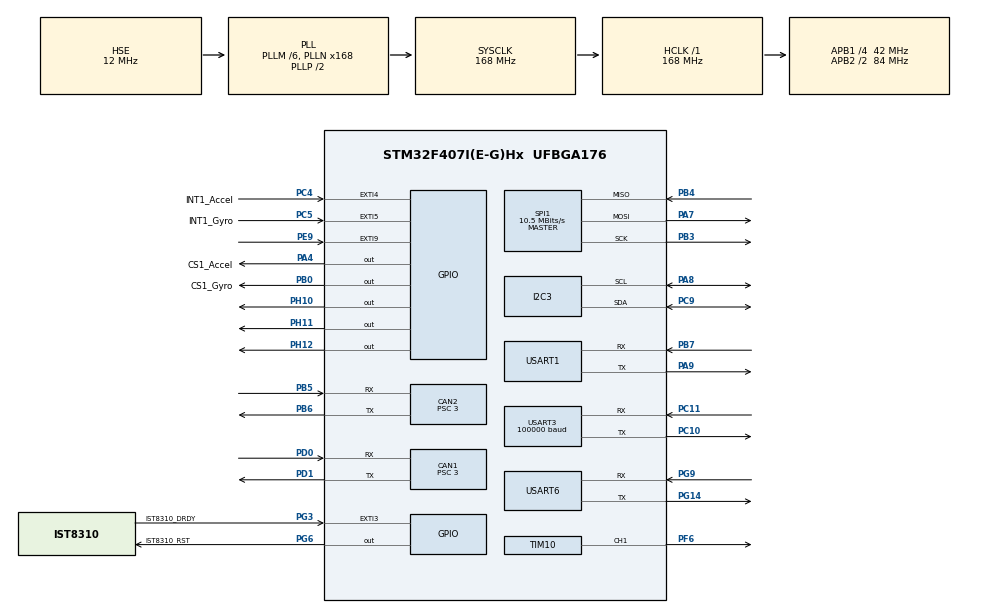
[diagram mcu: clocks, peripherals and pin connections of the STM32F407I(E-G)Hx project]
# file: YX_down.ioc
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CAN1.BS1=CAN_BS1_10TQ
CAN1.BS2=CAN_BS2_3TQ
CAN1.CalculateBaudRate=1000000
CAN1.CalculateTimeBit=1000
CAN1.CalculateTimeQuantum=71.42857142857143
CAN1.Prescaler=3
CAN2.BS1=CAN_BS1_10TQ
CAN2.BS2=CAN_BS2_3TQ
CAN2.CalculateBaudRate=1000000
CAN2.CalculateTimeBit=1000
CAN2.CalculateTimeQuantum=71.42857142857143
CAN2.Prescaler=3
Dma.Request0=USART1_RX
Dma.Request1=USART1_TX
Dma.Request2=USART6_RX
Dma.Request3=USART6_TX
Dma.Request4=USART3_RX
Dma.Request5=USART3_TX
Dma.Request6=SPI1_RX
Dma.Request7=SPI1_TX
Dma.SPI1_RX.6.Direction=DMA_PERIPH_TO_MEMORY
Dma.SPI1_RX.6.FIFOMode=DMA_FIFOMODE_DISABLE
Dma.SPI1_RX.6.Instance=DMA2_Stream0
Dma.SPI1_RX.6.MemDataAlignment=DMA_MDATAALIGN_BYTE
Dma.SPI1_RX.6.MemInc=DMA_MINC_ENABLE
Dma.SPI1_RX.6.Mode=DMA_NORMAL
Dma.SPI1_RX.6.PeriphDataAlignment=DMA_PDATAALIGN_BYTE
Dma.SPI1_RX.6.PeriphInc=DMA_PINC_DISABLE
Dma.SPI1_RX.6.Priority=DMA_PRIORITY_LOW
Dma.SPI1_TX.7.Direction=DMA_MEMORY_TO_PERIPH
Dma.SPI1_TX.7.FIFOMode=DMA_FIFOMODE_DISABLE
Dma.SPI1_TX.7.Instance=DMA2_Stream3
Dma.SPI1_TX.7.MemDataAlignment=DMA_MDATAALIGN_BYTE
Dma.SPI1_TX.7.MemInc=DMA_MINC_ENABLE
Dma.SPI1_TX.7.Mode=DMA_NORMAL
Dma.SPI1_TX.7.PeriphDataAlignment=DMA_PDATAALIGN_BYTE
Dma.SPI1_TX.7.PeriphInc=DMA_PINC_DISABLE
Dma.SPI1_TX.7.Priority=DMA_PRIORITY_LOW
Dma.USART1_RX.0.Direction=DMA_PERIPH_TO_MEMORY
Dma.USART1_RX.0.FIFOMode=DMA_FIFOMODE_DISABLE
Dma.USART1_RX.0.Instance=DMA2_Stream2
Dma.USART1_RX.0.MemDataAlignment=DMA_MDATAALIGN_BYTE
Dma.USART1_RX.0.MemInc=DMA_MINC_ENABLE
Dma.USART1_RX.0.Mode=DMA_CIRCULAR
Dma.USART1_RX.0.PeriphDataAlignment=DMA_PDATAALIGN_BYTE
Dma.USART1_RX.0.PeriphInc=DMA_PINC_DISABLE
Dma.USART1_RX.0.Priority=DMA_PRIORITY_VERY_HIGH
Dma.USART1_TX.1.Direction=DMA_MEMORY_TO_PERIPH
Dma.USART1_TX.1.FIFOMode=DMA_FIFOMODE_DISABLE
Dma.USART1_TX.1.Instance=DMA2_Stream7
Dma.USART1_TX.1.MemDataAlignment=DMA_MDATAALIGN_BYTE
Dma.USART1_TX.1.MemInc=DMA_MINC_ENABLE
Dma.USART1_TX.1.Mode=DMA_CIRCULAR
Dma.USART1_TX.1.PeriphDataAlignment=DMA_PDATAALIGN_BYTE
Dma.USART1_TX.1.PeriphInc=DMA_PINC_DISABLE
Dma.USART1_TX.1.Priority=DMA_PRIORITY_VERY_HIGH
Dma.USART3_RX.4.Direction=DMA_PERIPH_TO_MEMORY
Dma.USART3_RX.4.FIFOMode=DMA_FIFOMODE_DISABLE
Dma.USART3_RX.4.Instance=DMA1_Stream1
Dma.USART3_RX.4.MemDataAlignment=DMA_MDATAALIGN_BYTE
Dma.USART3_RX.4.MemInc=DMA_MINC_ENABLE
Dma.USART3_RX.4.Mode=DMA_CIRCULAR
Dma.USART3_RX.4.PeriphDataAlignment=DMA_PDATAALIGN_BYTE
Dma.USART3_RX.4.PeriphInc=DMA_PINC_DISABLE
Dma.USART3_RX.4.Priority=DMA_PRIORITY_VERY_HIGH
Dma.USART3_TX.5.Direction=DMA_MEMORY_TO_PERIPH
Dma.USART3_TX.5.FIFOMode=DMA_FIFOMODE_DISABLE
Dma.USART3_TX.5.Instance=DMA1_Stream3
Dma.USART3_TX.5.MemDataAlignment=DMA_MDATAALIGN_BYTE
Dma.USART3_TX.5.MemInc=DMA_MINC_ENABLE
Dma.USART3_TX.5.Mode=DMA_NORMAL
Dma.USART3_TX.5.PeriphDataAlignment=DMA_PDATAALIGN_BYTE
Dma.USART3_TX.5.PeriphInc=DMA_PINC_DISABLE
Dma.USART3_TX.5.Priority=DMA_PRIORITY_VERY_HIGH
Dma.USART6_RX.2.Direction=DMA_PERIPH_TO_MEMORY
Dma.USART6_RX.2.FIFOMode=DMA_FIFOMODE_DISABLE
Dma.USART6_RX.2.Instance=DMA2_Stream1
Dma.USART6_RX.2.MemDataAlignment=DMA_MDATAALIGN_BYTE
Dma.USART6_RX.2.MemInc=DMA_MINC_ENABLE
Dma.USART6_RX.2.Mode=DMA_NORMAL
Dma.USART6_RX.2.PeriphDataAlignment=DMA_PDATAALIGN_BYTE
Dma.USART6_RX.2.PeriphInc=DMA_PINC_DISABLE
Dma.USART6_RX.2.Priority=DMA_PRIORITY_VERY_HIGH
Dma.USART6_TX.3.Direction=DMA_MEMORY_TO_PERIPH
Dma.USART6_TX.3.FIFOMode=DMA_FIFOMODE_DISABLE
Dma.USART6_TX.3.Instance=DMA2_Stream6
Dma.USART6_TX.3.MemDataAlignment=DMA_MDATAALIGN_BYTE
Dma.USART6_TX.3.MemInc=DMA_MINC_ENABLE
Dma.USART6_TX.3.Mode=DMA_NORMAL
Dma.USART6_TX.3.PeriphDataAlignment=DMA_PDATAALIGN_BYTE
Dma.USART6_TX.3.PeriphInc=DMA_PINC_DISABLE
Dma.USART6_TX.3.Priority=DMA_PRIORITY_MEDIUM
FREERTOS.INCLUDE_uxTaskGetStackHighWaterMark=1
FREERTOS.Tasks01=defaultTask,0,128,StartDefaultTask,Default,NULL,Dynamic,NULL,NULL
I2C3.I2C_Mode=I2C_Fast
Mcu.Family=STM32F4
Mcu.Name=STM32F407I(E-G)Hx
Mcu.Package=UFBGA176
NVIC.CAN1_RX0_IRQn=true\:5\:0\:false\:false\:true\:true\:true\:true\:true
NVIC.CAN1_TX_IRQn=true\:5\:0\:false\:false\:true\:true\:true\:true\:true
NVIC.CAN2_RX0_IRQn=true\:5\:0\:false\:false\:true\:true\:true\:true\:true
NVIC.CAN2_TX_IRQn=true\:5\:0\:false\:false\:true\:true\:true\:true\:true
NVIC.DMA1_Stream1_IRQn=true\:5\:0\:false\:false\:true\:true\:false\:true\:true
NVIC.DMA1_Stream3_IRQn=true\:5\:0\:false\:false\:true\:true\:false\:true\:true
NVIC.DMA2_Stream0_IRQn=true\:5\:0\:false\:false\:true\:true\:false\:true\:true
NVIC.DMA2_Stream1_IRQn=true\:5\:0\:false\:false\:true\:true\:false\:true\:true
NVIC.DMA2_Stream2_IRQn=true\:5\:0\:false\:false\:true\:true\:false\:true\:true
NVIC.DMA2_Stream3_IRQn=true\:5\:0\:false\:false\:true\:true\:false\:true\:true
NVIC.DMA2_Stream6_IRQn=true\:5\:0\:false\:false\:true\:true\:false\:true\:true
NVIC.DMA2_Stream7_IRQn=true\:5\:0\:false\:false\:true\:true\:false\:true\:true
NVIC.EXTI3_IRQn=true\:5\:0\:false\:false\:true\:true\:true\:true\:true
NVIC.EXTI4_IRQn=true\:5\:0\:false\:false\:true\:true\:true\:true\:true
NVIC.EXTI9_5_IRQn=true\:5\:0\:false\:false\:true\:true\:true\:true\:true
NVIC.PriorityGroup=NVIC_PRIORITYGROUP_4
NVIC.SPI1_IRQn=true\:5\:0\:false\:false\:true\:true\:true\:true\:true
NVIC.TIM1_BRK_TIM9_IRQn=true\:5\:0\:false\:false\:true\:true\:true\:true\:true
NVIC.TIM2_IRQn=true\:5\:0\:false\:false\:true\:true\:true\:true\:true
NVIC.TIM3_IRQn=true\:15\:0\:false\:false\:true\:false\:false\:true\:true
NVIC.TIM4_IRQn=true\:5\:0\:false\:false\:true\:true\:true\:true\:true
NVIC.TIM8_BRK_TIM12_IRQn=true\:5\:0\:false\:false\:true\:true\:true\:true\:true
NVIC.TIM8_UP_TIM13_IRQn=true\:5\:0\:false\:false\:true\:true\:true\:true\:true
NVIC.TimeBase=TIM3_IRQn
NVIC.TimeBaseIP=TIM3
NVIC.USART1_IRQn=true\:5\:0\:false\:false\:true\:true\:true\:true\:true
NVIC.USART3_IRQn=true\:5\:0\:false\:false\:true\:true\:true\:true\:true
NVIC.USART6_IRQn=true\:5\:0\:false\:false\:true\:true\:true\:true\:true
PA13.Mode=Serial_Wire
PA13.Signal=SYS_JTMS-SWDIO
PA14.Mode=Serial_Wire
PA14.Signal=SYS_JTCK-SWCLK
PA4.GPIO_Label=CS1_Accel
PA4.GPIO_PuPd=GPIO_PULLUP
PA4.GPIO_Speed=GPIO_SPEED_FREQ_HIGH
PA4.PinState=GPIO_PIN_SET
PA4.Signal=GPIO_Output
PA7.Mode=Full_Duplex_Master
PA7.Signal=SPI1_MOSI
PA8.Mode=I2C
PA8.Signal=I2C3_SCL
PA9.Mode=Asynchronous
PA9.Signal=USART1_TX
PB0.GPIO_Label=CS1_Gyro
PB0.GPIO_PuPd=GPIO_PULLUP
PB0.GPIO_Speed=GPIO_SPEED_FREQ_HIGH
PB0.PinState=GPIO_PIN_SET
PB0.Signal=GPIO_Output
PB3.Mode=Full_Duplex_Master
PB3.Signal=SPI1_SCK
PB4.Mode=Full_Duplex_Master
PB4.Signal=SPI1_MISO
PB5.Mode=CAN_Activate
PB5.Signal=CAN2_RX
PB6.Mode=CAN_Activate
PB6.Signal=CAN2_TX
PB7.Mode=Asynchronous
PB7.Signal=USART1_RX
PC10.Mode=Asynchronous
PC10.Signal=USART3_TX
PC11.Mode=Asynchronous
PC11.Signal=USART3_RX
PC4.GPIO_Label=INT1_Accel
PC4.GPIO_PuPd=GPIO_PULLUP
PC4.Signal=GPXTI4
PC5.GPIO_Label=INT1_Gyro
PC5.GPIO_PuPd=GPIO_PULLUP
PC5.Signal=GPXTI5
PC9.Mode=I2C
PC9.Signal=I2C3_SDA
PD0.Mode=CAN_Activate
PD0.Signal=CAN1_RX
PD1.Mode=CAN_Activate
PD1.Signal=CAN1_TX
PE9.GPIO_PuPd=GPIO_PULLUP
PE9.Signal=GPXTI9
PF6.GPIO_PuPd=GPIO_PULLUP
PF6.GPIO_Speed=GPIO_SPEED_FREQ_HIGH
PF6.Signal=S_TIM10_CH1
PG14.GPIO_PuPd=GPIO_PULLUP
PG14.Mode=Asynchronous
PG14.Signal=USART6_TX
PG3.GPIO_Label=IST8310_DRDY
PG3.GPIO_PuPd=GPIO_PULLUP
PG3.Signal=GPXTI3
PG6.GPIO_Label=IST8310_RST
PG6.GPIO_PuPd=GPIO_PULLUP
PG6.GPIO_Speed=GPIO_SPEED_FREQ_MEDIUM
PG6.PinState=GPIO_PIN_SET
PG6.Signal=GPIO_Output
PG9.GPIO_PuPd=GPIO_PULLUP
PG9.Mode=Asynchronous
PG9.Signal=USART6_RX
PH0-OSC_IN.Mode=HSE-External-Oscillator
PH0-OSC_IN.Signal=RCC_OSC_IN
PH1-OSC_OUT.Mode=HSE-External-Oscillator
PH1-OSC_OUT.Signal=RCC_OSC_OUT
PH10.GPIO_PuPd=GPIO_PULLUP
PH10.Signal=GPIO_Output
PH11.GPIO_PuPd=GPIO_PULLUP
PH11.Signal=GPIO_Output
PH12.GPIO_PuPd=GPIO_PULLUP
PH12.Signal=GPIO_Output
ProjectManager.HeapSize=0x200
ProjectManager.StackSize=0x400
ProjectManager.TargetToolchain=MDK-ARM V5.32
RCC.48MHZClocksFreq_Value=84000000
RCC.AHBFreq_Value=168000000
RCC.APB1CLKDivider=RCC_HCLK_DIV4
RCC.APB1Freq_Value=42000000
RCC.APB1TimFreq_Value=84000000
RCC.APB2CLKDivider=RCC_HCLK_DIV2
RCC.APB2Freq_Value=84000000
RCC.APB2TimFreq_Value=168000000
RCC.CortexFreq_Value=168000000
RCC.HCLKFreq_Value=168000000
RCC.HSE_VALUE=12000000
RCC.HSI_VALUE=16000000
RCC.LSE_VALUE=32768
RCC.PLLM=6
RCC.PLLN=168
RCC.PLLSourceVirtual=RCC_PLLSOURCE_HSE
RCC.SYSCLKFreq_VALUE=168000000
RCC.SYSCLKSource=RCC_SYSCLKSOURCE_PLLCLK
RCC.VCOOutputFreq_Value=336000000
SH.S_TIM10_CH1.0=TIM10_CH1,PWM Generation1 CH1
SPI1.BaudRatePrescaler=SPI_BAUDRATEPRESCALER_8
SPI1.CLKPhase=SPI_PHASE_2EDGE
SPI1.CLKPolarity=SPI_POLARITY_HIGH
SPI1.CalculateBaudRate=10.5 MBits/s
SPI1.Direction=SPI_DIRECTION_2LINES
SPI1.Mode=SPI_MODE_MASTER
SPI1.VirtualType=VM_MASTER
TIM1.Period=100-1
TIM1.Prescaler=16800-1
TIM10.Channel=TIM_CHANNEL_1
TIM10.Period=5000-1
TIM2.Period=100-1
TIM2.Prescaler=8400
TIM4.Period=10000-1
TIM4.Prescaler=16800-1
TIM8.Period=100-1
TIM8.Prescaler=16800-1
TIM9.Period=100-1
TIM9.Prescaler=16800-1
USART1.VirtualMode=VM_ASYNC
USART3.BaudRate=100000
USART3.VirtualMode=VM_ASYNC
USART6.VirtualMode=VM_ASYNC
VP_FREERTOS_VS_CMSIS_V1.Mode=CMSIS_V1
VP_SYS_VS_tim3.Mode=TIM3
VP_TIM10_VS_ClockSourceINT.Mode=Enable_Timer
VP_TIM1_VS_ClockSourceINT.Mode=Internal
VP_TIM2_VS_ClockSourceINT.Mode=Internal
VP_TIM4_VS_ClockSourceINT.Mode=Internal
VP_TIM8_VS_ClockSourceINT.Mode=Internal
VP_TIM9_VS_ClockSourceINT.Mode=Internal
board=custom

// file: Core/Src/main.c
/* USER CODE BEGIN Header */
/**
  ******************************************************************************
  * @file           : main.c
  * @brief          : Main program body
  ******************************************************************************
  * @attention
  *
  * Copyright (c) 2023 STMicroelectronics.
  * All rights reserved.
  *
  * This software is licensed under terms that can be found in the LICENSE file
  * in the root directory of this software component.
  * If no LICENSE file comes with this software, it is provided AS-IS.
  *
  ******************************************************************************
  */
/* USER CODE END Header */
#include "main.h"
#include "cmsis_os.h"
#include "can.h"
#include "dma.h"
#include "i2c.h"
#include "spi.h"
#include "tim.h"
#include "usart.h"
#include "gpio.h"

/* USER CODE BEGIN Includes */
#include "INS_task.h"
#include "drv_can.h"
#include "drv_usart.h"
#include "string.h"
/* USER CODE END Includes */

void SystemClock_Config(void);
void MX_FREERTOS_Init(void);

/* USER CODE BEGIN 0 */
//全局变量
uint16_t can_cnt_2;
float target_speed[7]={0};//实测最大空载转速320rpm
float target_speed_can_2[7]={0};//实测最大空载转速320rpm
moto_info_t motor_info[MOTOR_MAX_NUM];		//赋予最大的7个字节
moto_info_t motor_info_can_2[MOTOR_MAX_NUM];		//赋予最大的7个字节

uint8_t can_flag=0;
double step=9158/660;
double r;
double target_v;
int16_t target_int1;
int16_t target_int2;//用于叠加旋转和直行
double target_curl;
float yuntai_step=60*(1024-364);

//拨盘
float time=100;//时间
float time_count;//时间计数值
uint8_t flag_shoot;//标志位
float round_shoot;//转动圈数
float down;
float up;

//Yaw轴
int16_t target_angle=4096;
int16_t err_angle;
int16_t max_yaw_speed;
float small;
float angle_limit =8191;//转角的最大值

uint8_t rx_data[8];

uint8_t Rx[128];
uint8_t data_length;
uint8_t begin = 0xA5;
uint8_t temp = 0x01;

DH Tx;

#pragma pack(1) //???????
typedef struct
{
	uint8_t begin_data;
	float tx;
	uint8_t end_data;
}DATA;
#pragma pack(push)

DATA data;
uint8_t trans[4];
uint16_t size;
/* USER CODE END 0 */

int main(void)
{

  /* MCU Configuration--------------------------------------------------------*/

  /* Reset of all peripherals, Initializes the Flash interface and the Systick. */
  HAL_Init();

  /* Configure the system clock */
  SystemClock_Config();

  /* Initialize all configured peripherals */
  MX_GPIO_Init();
  MX_DMA_Init();
  MX_TIM1_Init();
  MX_TIM2_Init();
  MX_TIM8_Init();
  MX_TIM9_Init();
  MX_CAN1_Init();
  MX_CAN2_Init();
  MX_USART1_UART_Init();
  MX_USART6_UART_Init();
  MX_USART3_UART_Init();
  MX_I2C3_Init();
  MX_SPI1_Init();
  MX_TIM10_Init();
  MX_TIM4_Init();
  /* USER CODE BEGIN 2 */
	HAL_TIM_Base_Start_IT(&htim4);
	HAL_TIM_PWM_Start(&htim10,TIM_CHANNEL_1);
	HAL_NVIC_SetPriority(TIM2_IRQn, 0, 0);//修改TIM2中断优先级
//	HAL_NVIC_SetPriority(SysTick_IRQn,1,1);//调高HAL_Delay的时钟中断优先级
	CAN1_Init();
  CAN2_Init();
  USART6_Init();
	USART3_Init();

	__HAL_UART_ENABLE_IT(&huart1,UART_IT_IDLE);
	HAL_UART_Receive_DMA(&huart1,(uint8_t *)Rx,128);
	data.begin_data = 0x5A;
	data.end_data = 0xAA;
	while(1){
		HAL_UART_Transmit_IT(&huart1,&data.begin_data,sizeof(data));
		data.tx++;
		HAL_Delay(0xff);
	}
  /* USER CODE END 2 */

  /* Call init function for freertos objects (in freertos.c) */
  MX_FREERTOS_Init();

  /* Start scheduler */
  osKernelStart();

  /* We should never get here as control is now taken by the scheduler */
  /* Infinite loop */
  while (1)
  {

  }
}

void SystemClock_Config(void)
{
  RCC_OscInitTypeDef RCC_OscInitStruct = {0};
  RCC_ClkInitTypeDef RCC_ClkInitStruct = {0};

  /** Configure the main internal regulator output voltage
  */
  __HAL_RCC_PWR_CLK_ENABLE();
  __HAL_PWR_VOLTAGESCALING_CONFIG(PWR_REGULATOR_VOLTAGE_SCALE1);

  /** Initializes the RCC Oscillators according to the specified parameters
  * in the RCC_OscInitTypeDef structure.
  */
  RCC_OscInitStruct.OscillatorType = RCC_OSCILLATORTYPE_HSE;
  RCC_OscInitStruct.HSEState = RCC_HSE_ON;
  RCC_OscInitStruct.PLL.PLLState = RCC_PLL_ON;
  RCC_OscInitStruct.PLL.PLLSource = RCC_PLLSOURCE_HSE;
  RCC_OscInitStruct.PLL.PLLM = 6;
  RCC_OscInitStruct.PLL.PLLN = 168;
  RCC_OscInitStruct.PLL.PLLP = RCC_PLLP_DIV2;
  RCC_OscInitStruct.PLL.PLLQ = 4;
  if (HAL_RCC_OscConfig(&RCC_OscInitStruct) != HAL_OK)
  {
    Error_Handler();
  }

  /** Initializes the CPU, AHB and APB buses clocks
  */
  RCC_ClkInitStruct.ClockType = RCC_CLOCKTYPE_HCLK|RCC_CLOCKTYPE_SYSCLK
                              |RCC_CLOCKTYPE_PCLK1|RCC_CLOCKTYPE_PCLK2;
  RCC_ClkInitStruct.SYSCLKSource = RCC_SYSCLKSOURCE_PLLCLK;
  RCC_ClkInitStruct.AHBCLKDivider = RCC_SYSCLK_DIV1;
  RCC_ClkInitStruct.APB1CLKDivider = RCC_HCLK_DIV4;
  RCC_ClkInitStruct.APB2CLKDivider = RCC_HCLK_DIV2;

  if (HAL_RCC_ClockConfig(&RCC_ClkInitStruct, FLASH_LATENCY_5) != HAL_OK)
  {
    Error_Handler();
  }
}

/* USER CODE BEGIN 4 */
void HAL_UART_RxCpltCallback(UART_HandleTypeDef *huart)
{
	if(huart->Instance == USART1)
	{
		HAL_UART_DMAStop(&huart1);
		data_length = 128 - __HAL_DMA_GET_COUNTER(huart1.hdmarx);
//		if(data_length<64)
//			return;
//		else if(Rx[0]!=begin)
//			return;
//		else if(Rx[1]!=temp)
//			return;
		if(Rx[0]==begin && Rx[1]==temp){
			memcpy(&Tx.nav_vx,&Rx[47],4);
			memcpy(&Tx.nav_vy,&Rx[51],4);
			memcpy(&Tx.nav_yaw,&Rx[55],4);
			HAL_UART_Transmit_DMA(&huart6,Rx,data_length);
			HAL_UART_Receive_DMA(&huart1,(uint8_t *)Rx,128);
		}
//		HAL_UART_Transmit_DMA(&huart6,Rx,data_length);
//		HAL_UART_Receive_DMA(&huart1,(uint8_t *)Rx,128);
	}
}
/* USER CODE END 4 */

void HAL_TIM_PeriodElapsedCallback(TIM_HandleTypeDef *htim)
{
  if (htim->Instance == TIM3) {
    HAL_IncTick();
  }
}

void Error_Handler(void)
{
  __disable_irq();
  while (1)
  {
  }
}

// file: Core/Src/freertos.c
/* USER CODE BEGIN Header */
/**
  ******************************************************************************
  * File Name          : freertos.c
  * Description        : Code for freertos applications
  ******************************************************************************
  * @attention
  *
  * Copyright (c) 2023 STMicroelectronics.
  * All rights reserved.
  *
  * This software is licensed under terms that can be found in the LICENSE file
  * in the root directory of this software component.
  * If no LICENSE file comes with this software, it is provided AS-IS.
  *
  ******************************************************************************
  */
/* USER CODE END Header */

#include "FreeRTOS.h"
#include "task.h"
#include "main.h"
#include "cmsis_os.h"

/* USER CODE BEGIN Includes */
#include "rc_potocal.h"
#include "arm_math.h"
#include "INS_task.h"
#include "StartTask02.h"
#include "StartTask03.h"
#include "StartTask04.h"
#include "StartTask05.h"
#include "Chassis_task.h"
/* USER CODE END Includes */

/* USER CODE BEGIN Variables */
osThreadId insTaskHandle;
osThreadId Chassis_taskHandle;
osThreadId myTask02Handle;

//osThreadId myTask03Handle;
//osThreadId myTask04Handle;
osThreadId myTask05Handle;

/* USER CODE END Variables */
osThreadId defaultTaskHandle;

void StartDefaultTask(void const * argument);

void MX_FREERTOS_Init(void); /* (MISRA C 2004 rule 8.1) */

/* GetIdleTaskMemory prototype (linked to static allocation support) */
void vApplicationGetIdleTaskMemory( StaticTask_t **ppxIdleTaskTCBBuffer, StackType_t **ppxIdleTaskStackBuffer, uint32_t *pulIdleTaskStackSize );

/* USER CODE BEGIN GET_IDLE_TASK_MEMORY */
static StaticTask_t xIdleTaskTCBBuffer;
static StackType_t xIdleStack[configMINIMAL_STACK_SIZE];

void vApplicationGetIdleTaskMemory( StaticTask_t **ppxIdleTaskTCBBuffer, StackType_t **ppxIdleTaskStackBuffer, uint32_t *pulIdleTaskStackSize )
{
  *ppxIdleTaskTCBBuffer = &xIdleTaskTCBBuffer;
  *ppxIdleTaskStackBuffer = &xIdleStack[0];
  *pulIdleTaskStackSize = configMINIMAL_STACK_SIZE;
  /* place for user code */
}
/* USER CODE END GET_IDLE_TASK_MEMORY */

void MX_FREERTOS_Init(void) {

  /* Create the thread(s) */
  /* definition and creation of defaultTask */
  osThreadDef(defaultTask, StartDefaultTask, osPriorityNormal, 0, 128);
  defaultTaskHandle = osThreadCreate(osThread(defaultTask), NULL);

  /* USER CODE BEGIN RTOS_THREADS */
	osThreadDef(imutask, INS_Task,  osPriorityRealtime, 0, 1024);	//НУВЭТЗЅвЛгИООс
  insTaskHandle = osThreadCreate(osThread(imutask), NULL);

	osThreadDef(Chassistask, Chassis_task, osPriorityIdle, 0, 128);		//µЧЕМТЖ¶ЇИООс
  Chassis_taskHandle = osThreadCreate(osThread(Chassistask), NULL);

	 osThreadDef(myTask02, StartTask02, osPriorityIdle, 0, 128);
  myTask02Handle = osThreadCreate(osThread(myTask02), NULL);

//	osThreadDef(myTask03, StartTask03, osPriorityIdle, 0, 128);
//  myTask03Handle = osThreadCreate(osThread(myTask03), NULL);

//	osThreadDef(myTask04, StartTask04, osPriorityIdle, 0, 128);
//  myTask04Handle = osThreadCreate(osThread(myTask04), NULL);

	osThreadDef(myTask05, StartTask05, osPriorityIdle, 0, 128);
  myTask05Handle = osThreadCreate(osThread(myTask05), NULL);
  /* add threads, ... */
  /* USER CODE END RTOS_THREADS */

}

void StartDefaultTask(void const * argument)
{
  /* USER CODE BEGIN StartDefaultTask */
	HAL_GPIO_WritePin(GPIOH,GPIO_PIN_11,GPIO_PIN_SET);
  /* Infinite loop */
  for(;;)
  {
    osDelay(1);
  }
  /* USER CODE END StartDefaultTask */
}
